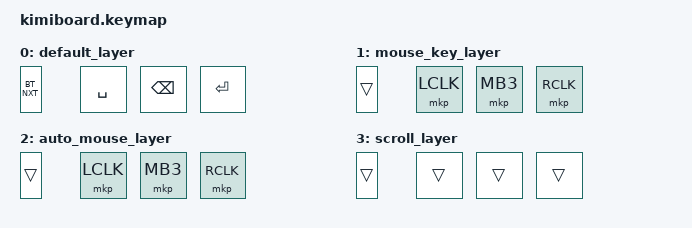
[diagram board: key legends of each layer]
#include <behaviors.dtsi>
#include <dt-bindings/zmk/bt.h>
#include <dt-bindings/zmk/keys.h>
#include <dt-bindings/zmk/mouse.h>
#include <dt-bindings/zmk/pointing.h>
#include <behaviors/rgbled_widget.dtsi>

&trackball {
    automouse-layer = <2>;
    scroll-layers = <3>;
};


/ {
    keymap {
        compatible = "zmk,keymap";

        default_layer {
            bindings = <
                // row0左から右へ（一番左のキーはリセットボタン）
                &bt BT_NXT  &kp SPACE  &kp BACKSPACE  &kp ENTER
            >;
	};

    mouse_key_layer {
            bindings = <
                &trans  &mkp LCLK  &mkp MB3  &mkp RCLK
        >;
    };

    auto_mouse_layer {
            bindings = <
                &trans  &mkp LCLK  &mkp MB3  &mkp RCLK
        >;
    };

    scroll_layer {
            bindings = <
                &trans  &trans  &trans  &trans
        >;
    };
    


    };

    combos {
        compatible = "zmk,combos";

        // Key1 + 2 = (□ - ■ ■ □)
            // タップでLANGUAGE_2へ切り替え
			// ホールドでスクロールレイヤー

        combo_layer1 {
            bindings = <&lt 3 LANGUAGE_2>;
            key-positions = <1 2>;
            timeout-ms = <50>;
        };
        
        // Key2 + 3 = (□ - □ ■ ■)
			// タップでLANGUAGE_1へ切り替え

        combo_layer2 {
            bindings = <&kp LANGUAGE_1>;
            key-positions = <2 3>;
            timeout-ms = <50>;
        };

        // Key1 + 3 = (□ -  ■ □ ■)
			// 1番レイヤーをトグル(マウス操作限定レイヤー)

        combo_layer4 {
            bindings = <&tog 1>;
            key-positions = <1 3>;
            timeout-ms = <50>;
        };

		// Key1 + 3 = (■ -  □ □　■)
			// 現在の接続先のBT接続情報を消去

        combo_layer7 {
            bindings = <&bt BT_CLR>;
            key-positions = <0 3>;
            timeout-ms = <50>;
        };


    };

};
